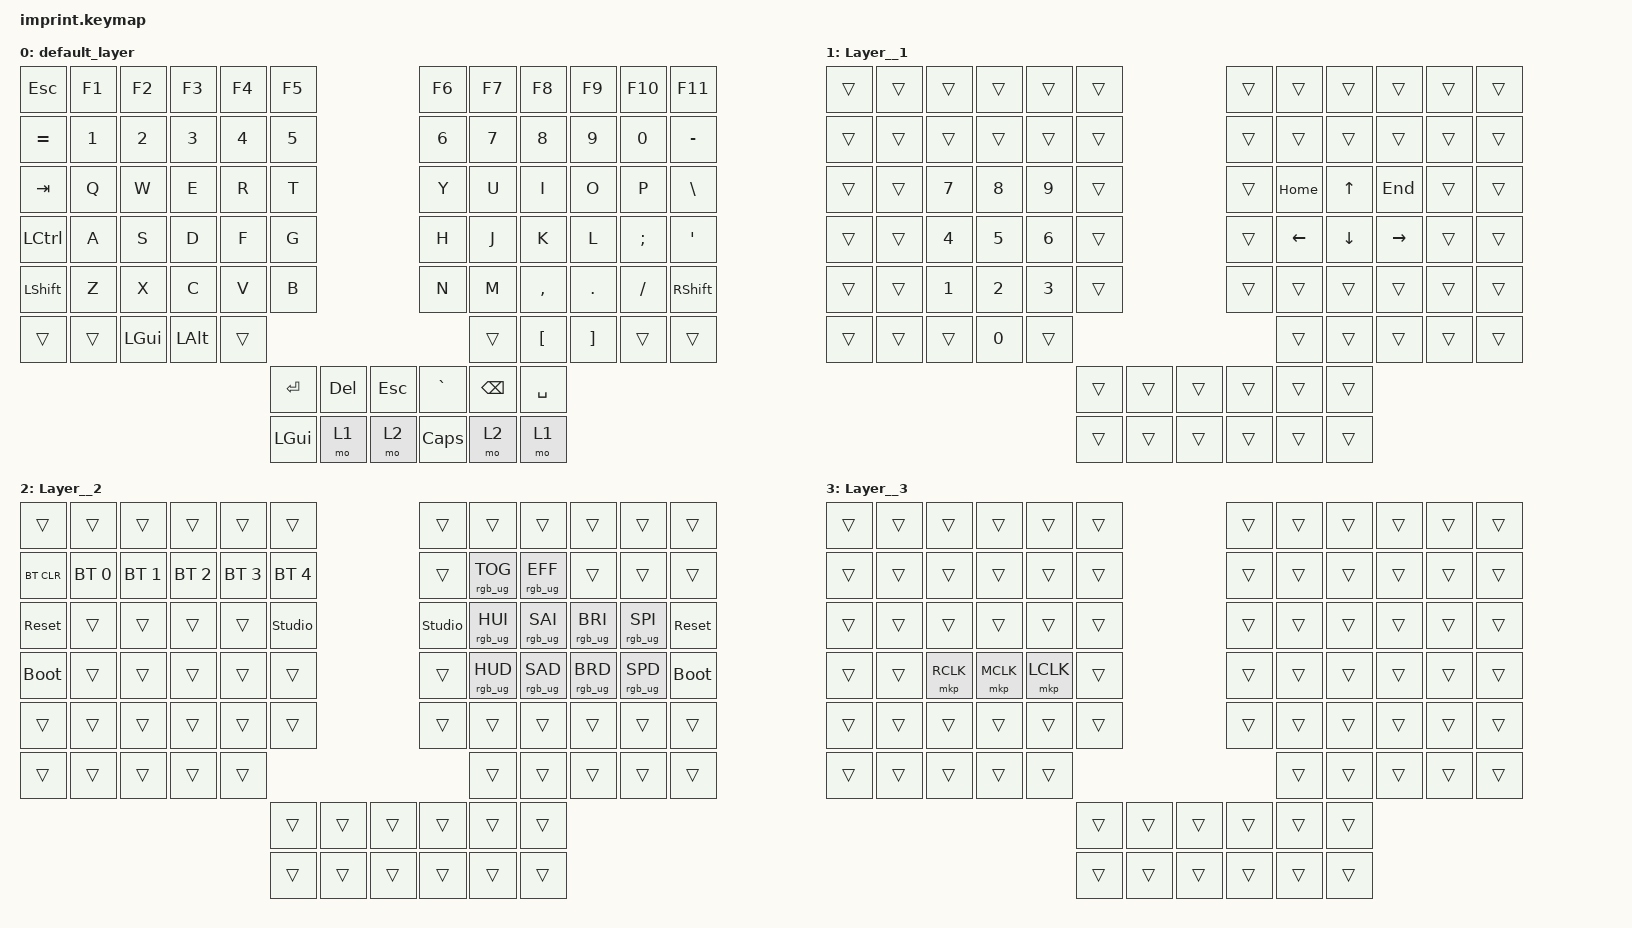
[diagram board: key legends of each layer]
#include <behaviors.dtsi>
#include <dt-bindings/zmk/keys.h>
#include <dt-bindings/zmk/rgb.h>
#include <dt-bindings/zmk/ext_power.h>
#include <dt-bindings/zmk/bt.h>
#include <dt-bindings/zmk/pointing.h>
#include <input/processors.dtsi>
#include <dt-bindings/zmk/input_transform.h>

/ {
    chosen { zmk,matrix-transform = &imprint_function_row_full_bottom_row;
    };

    keymap {
        compatible = "zmk,keymap";

        default_layer {
            bindings = <
 &kp ESC    &kp F1    &kp F2    &kp F3    &kp F4  &kp F5                                         &kp F6      &kp F7     &kp F8    &kp F9   &kp F10  &kp F11
 &kp EQUAL    &kp N1    &kp N2    &kp N3    &kp N4  &kp N5                                         &kp N6      &kp N7     &kp N8    &kp N9   &kp N0   &kp MINUS
 &kp TAB    &kp Q     &kp W     &kp E     &kp R   &kp T                                          &kp Y       &kp U      &kp I     &kp O    &kp P    &kp BSLH
 &kp LCTRL  &kp A     &kp S     &kp D     &kp F   &kp G                                          &kp H       &kp J      &kp K     &kp L    &kp SEMI &kp SQT
 &kp LSHFT  &kp Z     &kp X     &kp C     &kp V   &kp B                                          &kp N       &kp M      &kp COMMA &kp DOT  &kp FSLH &kp RSHFT
 &trans     &trans    &kp LGUI  &kp LALT  &trans                                                             &trans     &kp LBKT  &kp RBKT &trans   &trans
                                                  &kp RET  &kp DEL &kp ESC    &kp GRAVE &kp BSPC &kp SPACE
                                                  &kp LGUI &mo 1   &mo 2      &kp CAPS  &mo 2    &mo 1
            >;
        };

        Layer__1 {
            bindings = <
 &trans  &trans  &trans  &trans  &trans  &trans                                     &trans  &trans   &trans   &trans    &trans  &trans
 &trans  &trans  &trans  &trans  &trans  &trans                                     &trans  &trans   &trans   &trans    &trans  &trans
 &trans  &trans  &kp N7  &kp N8  &kp N9  &trans                                     &trans  &kp HOME &kp UP   &kp END   &trans  &trans
 &trans  &trans  &kp N4  &kp N5  &kp N6  &trans                                     &trans  &kp LEFT &kp DOWN &kp RIGHT &trans  &trans
 &trans  &trans  &kp N1  &kp N2  &kp N3  &trans                                     &trans  &trans   &trans   &trans    &trans  &trans
 &trans  &trans  &trans  &kp N0  &trans                                                     &trans   &trans   &trans    &trans  &trans
                                      &trans  &trans &trans       &trans  &trans &trans
                                      &trans  &trans &trans       &trans  &trans &trans
            >;
        };

        Layer__2 {
            bindings = <
 &trans      &trans  &trans  &trans  &trans  &trans                                     &trans         &trans           &trans          &trans          &trans          &trans
 &bt BT_CLR  &bt BT_SEL 0 &bt BT_SEL 1 &bt BT_SEL 2 &bt BT_SEL 3 &bt BT_SEL 4           &trans         &rgb_ug RGB_TOG  &rgb_ug RGB_EFF &trans          &trans          &trans
 &sys_reset  &trans  &trans  &trans  &trans  &studio_unlock                             &studio_unlock &rgb_ug RGB_HUI  &rgb_ug RGB_SAI &rgb_ug RGB_BRI &rgb_ug RGB_SPI &sys_reset
 &bootloader &trans  &trans  &trans  &trans  &trans                                     &trans         &rgb_ug RGB_HUD  &rgb_ug RGB_SAD &rgb_ug RGB_BRD &rgb_ug RGB_SPD &bootloader
 &trans      &trans  &trans  &trans  &trans  &trans                                     &trans         &trans           &trans          &trans          &trans          &trans
 &trans      &trans  &trans  &trans  &trans                                                            &trans           &trans          &trans          &trans          &trans
                                         &trans  &trans &trans        &trans &trans &trans
                                         &trans  &trans &trans        &trans &trans &trans
            >;
        };

        Layer__3 {//auto-mouse layer
            bindings = <
 &trans  &trans  &trans  &trans  &trans  &trans                                     &trans  &trans  &trans  &trans  &trans  &trans
 &trans  &trans  &trans  &trans  &trans  &trans                                     &trans  &trans  &trans  &trans  &trans  &trans
 &trans  &trans  &trans  &trans  &trans  &trans                                     &trans  &trans  &trans  &trans  &trans  &trans
 &trans  &trans  &mkp RCLK  &mkp MCLK  &mkp LCLK  &trans                            &trans  &trans  &trans  &trans  &trans  &trans
 &trans  &trans  &trans  &trans  &trans  &trans                                     &trans  &trans  &trans  &trans  &trans  &trans
 &trans  &trans  &trans  &trans  &trans                                                     &trans  &trans  &trans  &trans  &trans
                                         &trans  &trans &trans        &trans &trans &trans
                                         &trans  &trans &trans        &trans &trans &trans
            >;
        };
    };
};

// //right hand trackball overrides
// &trackball_peripheral_listener {
//     input-processors =
//         <&zip_xy_transform INPUT_TRANSFORM_XY_SWAP>,//this gets it to the default installation orientation
//         <&zip_temp_layer 3 500>;//activate layer 3 within 500ms of the trackball moving
// };
// //left hand trackball overrides
// &trackball_central_listener {
//     input-processors = 
//         <&zip_xy_transform INPUT_TRANSFORM_XY_SWAP>,//this gets it to the default installation orientation
//         <&zip_xy_scaler 1 3>,//multiply sensitivity by 1, divide by 3 (make it slower for scrolling)
//         <&zip_xy_to_scroll_mapper>,//make this trackball output scrolling events by default instead of cursor movement
//         <&zip_scroll_transform INPUT_TRANSFORM_Y_INVERT>;//invert vertical scrolling so that the view moves in the same direction as the top of the trackball.
// };
